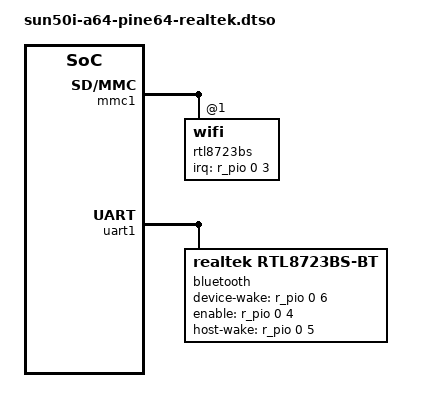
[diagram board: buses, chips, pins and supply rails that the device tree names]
// SPDX-License-Identifier: (GPL-2.0+ OR MIT)
// Copyright (c) 2025 Peter Robinson

/dts-v1/;
/plugin/;

#include <dt-bindings/gpio/gpio.h>
#include <dt-bindings/interrupt-controller/arm-gic.h>

&mmc1 {
	status = "okay";

	rtl8723bs: wifi@1 {
		reg = <1>;
		interrupt-parent = <&r_pio>;
		interrupts = <0 3 IRQ_TYPE_LEVEL_LOW>; /* PL3 */
		interrupt-names = "host-wake";
	};
};

&uart1 {
	status = "okay";

	bluetooth {
		compatible = "realtek,rtl8723bs-bt";
		device-wake-gpios = <&r_pio 0 6 GPIO_ACTIVE_HIGH>; /* PL6 */
		enable-gpios = <&r_pio 0 4 GPIO_ACTIVE_HIGH>; /* PL4 */
		host-wake-gpios = <&r_pio 0 5 GPIO_ACTIVE_HIGH>; /* PL5 */
	};
};
